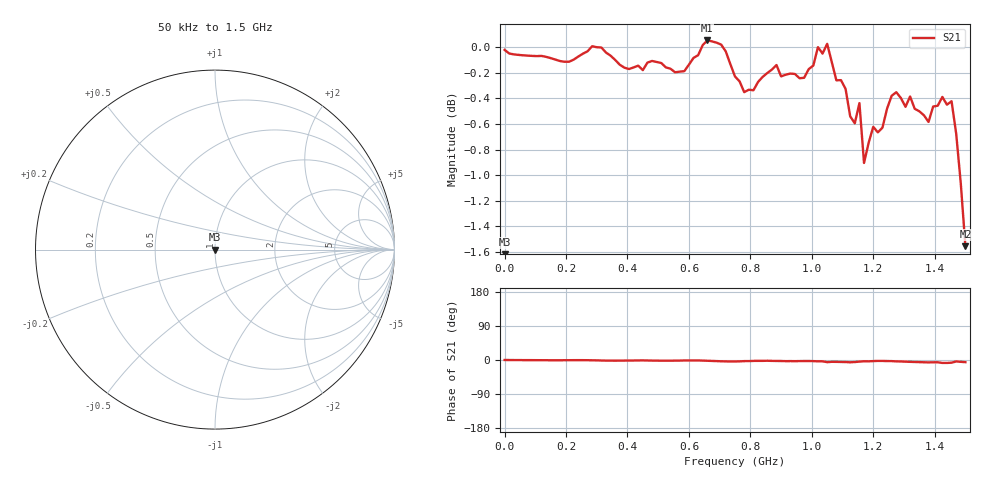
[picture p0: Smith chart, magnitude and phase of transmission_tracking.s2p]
! Created with skrf 1.8.0 (http://scikit-rf.org).
# Hz S RI R 50.0
!freq ReS11 ImS11 ReS21 ImS21 ReS12 ImS12 ReS22 ImS22
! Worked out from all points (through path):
!   101 points, 50 kHz to 1.5 GHz, reference 50 ohm
!   highest |S21| = 0.05 dB at 660 MHz (marker M1); lowest = -1.6 dB at 1.5 GHz (marker M2)
!   lowest |S11| = - dB at 50 kHz (marker M3), VSWR 1.00, Z = 50 + j0 ohm
!   |S11| at or under -10 dB: start of sweep to end of sweep
!   S12 and S22 are empty: the file has one direction only
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50000  0 0  0.9976 0.0009  0 0  0 0
2.550415e8  0 0  0.9941 -0.00736  0 0  0 0
5.10033e8  0 0  0.9853 -0.0316  0 0  0 0
5.850305e8  0 0  0.9784 -0.0208  0 0  0 0
6.60028e8  0 0  1.005 -0.0353  0 0  0 0
7.50025e8  0 0  0.9718 -0.0656  0 0  0 0
7.80024e8  0 0  0.9591 -0.0491  0 0  0 0
8.550215e8  0 0  0.9764 -0.0339  0 0  0 0
1.005016e9  0 0  0.9823 -0.0512  0 0  0 0
1.035016e9  0 0  0.9924 -0.0605  0 0  0 0
1.050015e9  0 0  0.998 -0.0996  0 0  0 0
1.065014e9  0 0  0.9833 -0.0823  0 0  0 0
1.125012e9  0 0  0.9345 -0.0988  0 0  0 0
1.155012e9  0 0  0.9483 -0.0711  0 0  0 0
1.170011e9  0 0  0.8996 -0.0529  0 0  0 0
1.260008e9  0 0  0.956 -0.0489  0 0  0 0
1.380004e9  0 0  0.9294 -0.1023  0 0  0 0
1.410003e9  0 0  0.9436 -0.0987  0 0  0 0
1.425002e9  0 0  0.9475 -0.1289  0 0  0 0
1.455002e9  0 0  0.9452 -0.1182  0 0  0 0
1.470001e9  0 0  0.9232 -0.0618  0 0  0 0
1.5e9  0 0  0.8321 -0.083  0 0  0 0
